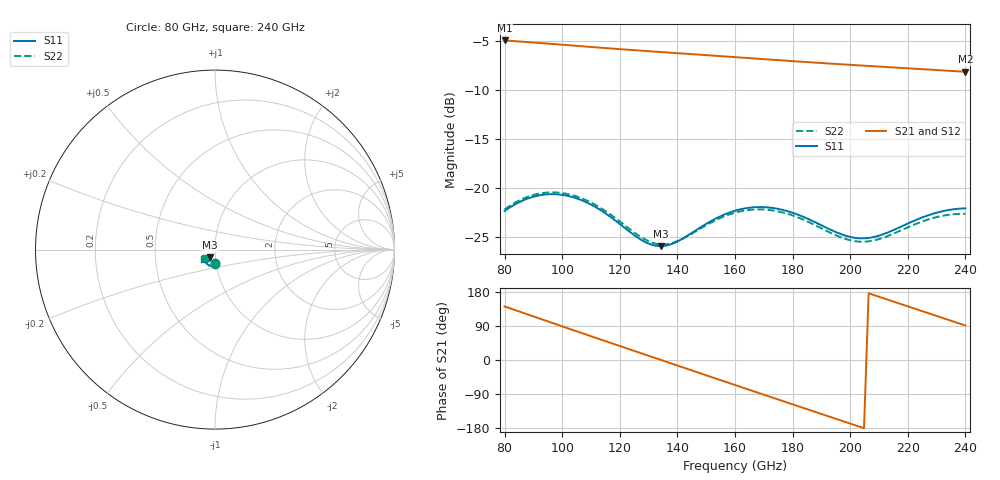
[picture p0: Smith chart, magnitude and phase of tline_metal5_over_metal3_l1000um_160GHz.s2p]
#  GHZ S DB R 50
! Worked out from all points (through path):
!   101 points, 80 GHz to 240 GHz, reference 50 ohm
!   highest |S21| = -4.98 dB at 80 GHz (marker M1); lowest = -8.2 dB at 240 GHz (marker M2)
!   group delay of S21, straight-line fit = 7.11 ps
!   lowest |S11| = -25.9 dB at 134.4 GHz (marker M3), VSWR 1.11, Z = 47.1 - j4 ohm
!   |S11| at or under -10 dB: start of sweep to end of sweep
!   |S22| runs from -25.7 to -20.4 dB; largest |S21 - S12| = 6.5e-14
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80  -22.31 -91.8  -4.98 141.3  -4.98 141.3  -22.15 -89.4
88  -21.05 -99.5  -5.14 120.3  -5.14 120.3  -20.87 -97.7
94.4  -20.63 -108.2  -5.28 103.5  -5.28 103.5  -20.44 -106.9
100.8  -20.71 -117.5  -5.43 86.7  -5.43 86.7  -20.52 -116.4
107.2  -21.27 -126.1  -5.57 70.0  -5.57 70.0  -21.07 -125.2
115.2  -22.59 -133.9  -5.75 49.3  -5.75 49.3  -22.36 -133.5
121.6  -24.00 -135.9  -5.89 32.8  -5.89 32.8  -23.74 -136.1
128  -25.34 -132.2  -6.02 16.3  -6.02 16.3  -25.08 -133.2
134.4  -25.89 -123.5  -6.16 -0.2  -6.16 -0.2  -25.72 -125.5
145.6  -24.43 -113.0  -6.38 -29.0  -6.38 -29.0  -24.51 -115.3
153.6  -23.04 -115.1  -6.54 -49.6  -6.54 -49.6  -23.20 -117.0
160  -22.29 -120.2  -6.67 -66.0  -6.67 -66.0  -22.49 -121.9
166.4  -21.94 -126.6  -6.80 -82.4  -6.80 -82.4  -22.17 -128.1
172.8  -21.99 -133.1  -6.93 -98.7  -6.93 -98.7  -22.24 -134.5
179.2  -22.42 -138.7  -7.06 -115.0  -7.06 -115.0  -22.69 -140.1
187.2  -23.37 -143.0  -7.22 -135.3  -7.22 -135.3  -23.67 -144.4
195.2  -24.48 -142.2  -7.36 -155.6  -7.36 -155.6  -24.80 -143.5
201.6  -25.04 -137.7  -7.48 -171.8  -7.48 -171.8  -25.38 -139.0
208  -24.98 -131.9  -7.59 172.0  -7.59 172.0  -25.32 -133.2
214.4  -24.33 -128.0  -7.71 155.8  -7.71 155.8  -24.69 -129.4
227.2  -22.74 -129.7  -7.93 123.4  -7.93 123.4  -23.16 -131.4
240  -22.05 -138.7  -8.16 91.1  -8.16 91.1  -22.60 -140.5
